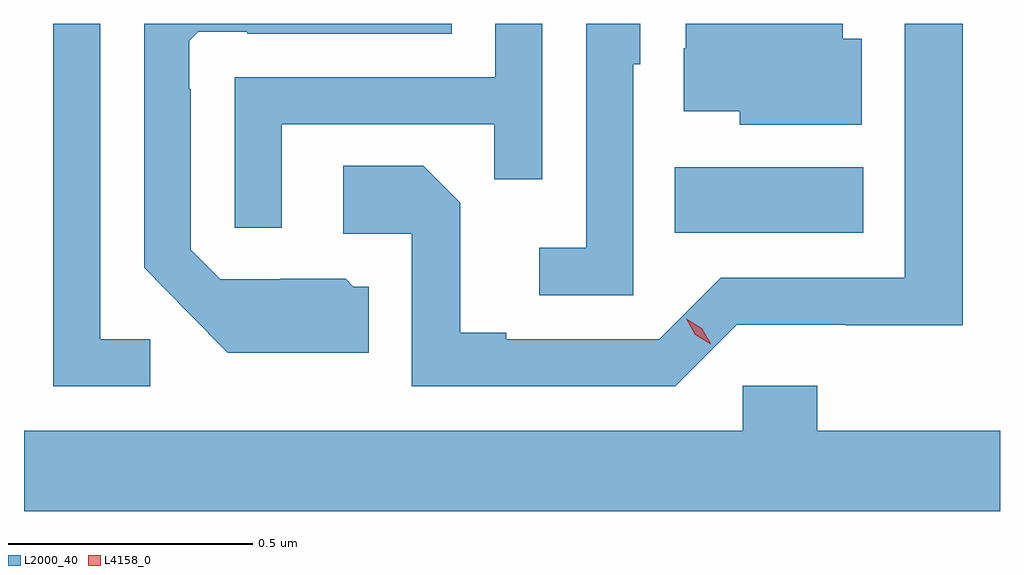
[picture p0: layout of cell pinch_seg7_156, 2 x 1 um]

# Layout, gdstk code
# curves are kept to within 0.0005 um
import gdstk
lib = gdstk.Library(unit=1e-6, precision=1e-09)
def R(c, l, rs):  # rectangles x0, y0, x1, y1
    for r in rs: c.add(gdstk.rectangle(r[:2], r[2:], *l))
def P(c, l, *ps):  # polygons
    for p in ps: c.add(gdstk.Polygon(p, *l))
L2000_40 = (2000, 40)
L4158_0 = (4158, 0)

pinch_seg7_156 = lib.new_cell('pinch_seg7_156')
R(pinch_seg7_156, L2000_40, [(1034.692,1014.506,1035.079,1014.64)])
P(pinch_seg7_156, L2000_40, [(1034.065,1014.396),(1034.034,1014.396),(1034.018,1014.412),(1033.884,1014.412),(1033.884,1014.411),(1033.761,1014.411),(1033.701,1014.471),(1033.701,1014.8),(1033.698,1014.8),(1033.698,1014.9),(1033.716,1014.918),(1033.816,1014.918),(1033.816,1014.914),(1034.236,1014.914),(1034.236,1014.934),(1033.605,1014.934),(1033.605,1014.434),(1033.777,1014.26),(1034.065,1014.26)],
  [(1033.887,1014.729),(1034.323,1014.729),(1034.323,1014.616),(1034.421,1014.616),(1034.421,1014.934),(1034.325,1014.934),(1034.325,1014.825),(1033.791,1014.825),(1033.791,1014.516),(1033.887,1014.516)],
  [(1035.076,1014.904),(1035.037,1014.904),(1035.037,1014.934),(1034.715,1014.934),(1034.715,1014.884),(1034.711,1014.884),(1034.711,1014.755),(1034.826,1014.755),(1034.826,1014.728),(1035.076,1014.728)],
  [(1034.82,1014.318),(1035.042,1014.318),(1035.042,1014.317),(1035.283,1014.317),(1035.283,1014.934),(1035.164,1014.934),(1035.164,1014.414),(1034.787,1014.414),(1034.661,1014.288),(1034.347,1014.288),(1034.347,1014.301),(1034.253,1014.301),(1034.253,1014.568),(1034.177,1014.644),(1034.013,1014.644),(1034.013,1014.504),(1034.154,1014.504),(1034.154,1014.192),(1034.694,1014.192)],
  [(1034.607,1014.852),(1034.622,1014.852),(1034.622,1014.934),(1034.511,1014.934),(1034.511,1014.475),(1034.415,1014.475),(1034.415,1014.378),(1034.607,1014.378)],
  [(1033.618,1014.288),(1033.515,1014.288),(1033.515,1014.934),(1033.419,1014.934),(1033.419,1014.192),(1033.618,1014.192)],
  [(1035.359,1014.1),(1034.984,1014.1),(1034.984,1014.193),(1034.832,1014.193),(1034.832,1014.1),(1033.359,1014.1),(1033.359,1013.936),(1035.359,1013.936)])
P(pinch_seg7_156, L4158_0, [(1034.766,1014.278),(1034.734,1014.297),(1034.716,1014.33),(1034.716,1014.33),(1034.716,1014.33),(1034.748,1014.311),(1034.766,1014.279),(1034.766,1014.278)])

lib.write_gds('pinch_seg7_156.gds')
